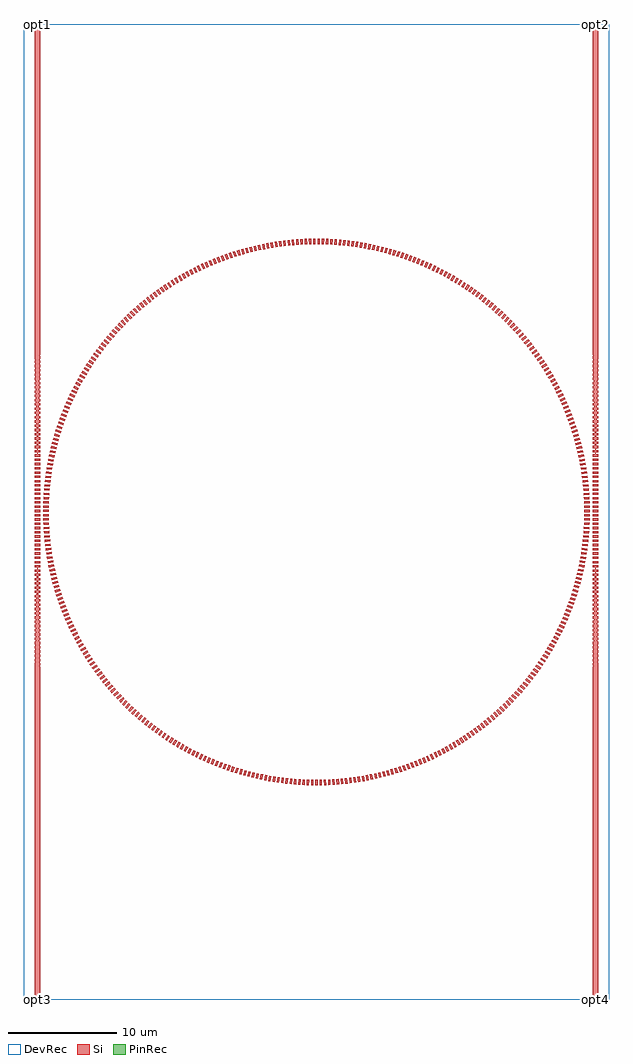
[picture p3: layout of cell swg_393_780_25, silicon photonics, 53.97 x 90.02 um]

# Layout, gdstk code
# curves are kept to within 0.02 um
import gdstk
lib = gdstk.Library(unit=1e-6, precision=1e-09)
def R(c, l, rs):  # rectangles x0, y0, x1, y1
    for r in rs: c.add(gdstk.rectangle(r[:2], r[2:], *l))
def A(c, l, x, y, w, h, nx, ny, dx, dy):  # array of equal rectangles
    R(c, l, [(x+i*dx, y+j*dy, x+i*dx+w, y+j*dy+h) for i in range(nx) for j in range(ny)])
def P(c, l, *ps):  # polygons
    for p in ps: c.add(gdstk.Polygon(p, *l))
Si = (1, 0)
PinRec = (1, 10)
DevRec = (68, 0)

swg_393_780_25 = lib.new_cell('swg_393_780_25')
A(swg_393_780_25, Si, 0, 40.284, 0.5, 0.196, 1, 12, 0, 0.393)
A(swg_393_780_25, Si, 51.472, 40.284, 0.5, 0.196, 1, 12, 0, 0.393)
A(swg_393_780_25, Si, 0, 45, 0.5, 0.197, 1, 13, 0, 0.393)
A(swg_393_780_25, Si, 51.472, 45, 0.5, 0.197, 1, 13, 0, 0.393)
P(swg_393_780_25, Si, [(25.884,19.794),(25.886,20.294),(26.081,20.294),(26.083,19.794)],
  [(36.443,67.385),(36.266,67.466),(36.474,67.921),(36.654,67.838)],
  [(37.142,67.044),(36.968,67.131),(37.191,67.579),(37.368,67.49)],
  [(51.472,50.109),(51.472,50.306),(51.688,50.306),(51.684,50.502),(51.472,50.502),(51.472,50.699),(51.68,50.699),(51.675,50.895),(51.472,50.895),(51.472,51.092),(51.671,51.092),(51.667,51.288),(51.472,51.288),(51.472,51.485),(51.662,51.485),(51.658,51.681),(51.472,51.681),(51.472,51.878),(51.654,51.878),(51.649,52.074),(51.472,52.074),(51.472,52.271),(51.645,52.271),(51.641,52.467),(51.472,52.467),(51.472,52.664),(51.636,52.664),(51.632,52.86),(51.472,52.86),(51.472,53.057),(51.628,53.057),(51.623,53.253),(51.472,53.253),(51.472,53.45),(51.619,53.45),(51.615,53.646),(51.472,53.646),(51.472,53.843),(51.61,53.843),(51.606,54.039),(51.472,54.039),(51.472,54.236),(51.602,54.236),(51.597,54.432),(51.472,54.432),(51.472,54.629),(51.593,54.629),(51.589,54.825),(51.472,54.825),(51.472,55.022),(51.584,55.022),(51.58,55.218),(51.472,55.218),(51.472,55.415),(51.576,55.415),(51.571,55.611),(51.472,55.611),(51.472,55.808),(51.567,55.808),(51.563,56.004),(51.472,56.004),(51.472,56.201),(51.558,56.201),(51.554,56.397),(51.472,56.397),(51.472,56.594),(51.55,56.594),(51.546,56.79),(51.472,56.79),(51.472,56.987),(51.541,56.987),(51.537,57.183),(51.472,57.183),(51.472,57.38),(51.533,57.38),(51.528,57.576),(51.472,57.576),(51.472,57.773),(51.524,57.773),(51.52,57.969),(51.472,57.969),(51.472,58.166),(51.515,58.166),(51.511,58.362),(51.472,58.362),(51.472,58.559),(51.507,58.559),(51.502,58.755),(51.472,58.755),(51.472,58.952),(51.498,58.952),(51.494,59.148),(51.472,59.148),(51.472,90),(51.972,90),(51.972,59.148),(51.95,59.148),(51.946,58.952),(51.972,58.952),(51.972,58.755),(51.942,58.755),(51.937,58.559),(51.972,58.559),(51.972,58.362),(51.933,58.362),(51.929,58.166),(51.972,58.166),(51.972,57.969),(51.924,57.969),(51.92,57.773),(51.972,57.773),(51.972,57.576),(51.916,57.576),(51.911,57.38),(51.972,57.38),(51.972,57.183),(51.907,57.183),(51.903,56.987),(51.972,56.987),(51.972,56.79),(51.898,56.79),(51.894,56.594),(51.972,56.594),(51.972,56.397),(51.89,56.397),(51.886,56.201),(51.972,56.201),(51.972,56.004),(51.881,56.004),(51.877,55.808),(51.972,55.808),(51.972,55.611),(51.873,55.611),(51.868,55.415),(51.972,55.415),(51.972,55.218),(51.864,55.218),(51.86,55.022),(51.972,55.022),(51.972,54.825),(51.855,54.825),(51.851,54.629),(51.972,54.629),(51.972,54.432),(51.847,54.432),(51.842,54.236),(51.972,54.236),(51.972,54.039),(51.838,54.039),(51.834,53.843),(51.972,53.843),(51.972,53.646),(51.829,53.646),(51.825,53.45),(51.972,53.45),(51.972,53.253),(51.821,53.253),(51.816,53.057),(51.972,53.057),(51.972,52.86),(51.812,52.86),(51.808,52.664),(51.972,52.664),(51.972,52.467),(51.803,52.467),(51.799,52.271),(51.972,52.271),(51.972,52.074),(51.795,52.074),(51.79,51.878),(51.972,51.878),(51.972,51.681),(51.786,51.681),(51.782,51.485),(51.972,51.485),(51.972,51.288),(51.777,51.288),(51.773,51.092),(51.972,51.092),(51.972,50.895),(51.769,50.895),(51.764,50.699),(51.972,50.699),(51.972,50.502),(51.76,50.502),(51.756,50.306),(51.972,50.306),(51.972,50.109)],
  [(38.842,66.099),(38.675,66.199),(38.932,66.628),(39.102,66.526)],
  [(36.794,67.217),(36.619,67.302),(36.834,67.753),(37.013,67.667)],
  [(32.052,68.95),(31.863,68.997),(31.982,69.483),(32.175,69.435)],
  [(35.374,67.854),(35.194,67.927),(35.38,68.391),(35.564,68.316)],
  [(35.733,67.703),(35.554,67.779),(35.747,68.24),(35.93,68.162)],
  [(26.279,69.705),(26.084,69.706),(26.086,70.206),(26.285,70.205)],
  [(27.056,69.683),(26.862,69.691),(26.88,70.191),(27.078,70.183)],
  [(30.149,69.353),(29.957,69.385),(30.038,69.879),(30.233,69.846)],
  [(29.765,69.416),(29.573,69.445),(29.645,69.94),(29.842,69.91)],
  [(28.608,69.567),(28.414,69.587),(28.464,70.085),(28.661,70.064)],
  [(36.089,67.547),(35.911,67.625),(36.112,68.083),(36.293,68.003)],
  [(27.445,69.663),(27.251,69.674),(27.276,70.174),(27.474,70.163)],
  [(33.176,68.637),(32.99,68.693),(33.131,69.173),(33.322,69.116)],
  [(30.914,69.21),(30.723,69.248),(30.819,69.739),(31.014,69.7)],
  [(31.295,69.13),(31.104,69.171),(31.208,69.66),(31.402,69.618)],
  [(31.674,69.043),(31.484,69.087),(31.596,69.574),(31.789,69.53)],
  [(28.221,69.605),(28.027,69.622),(28.068,70.12),(28.266,70.103)],
  [(34.65,68.138),(34.467,68.205),(34.639,68.675),(34.825,68.606)],
  [(32.428,68.852),(32.24,68.902),(32.367,69.386),(32.559,69.335)],
  [(32.803,68.748),(32.616,68.8),(32.75,69.282),(32.941,69.228)],
  [(29.38,69.472),(29.187,69.498),(29.252,69.994),(29.449,69.968)],
  [(33.547,68.521),(33.362,68.58),(33.511,69.057),(33.7,68.997)],
  [(26.668,69.697),(26.473,69.702),(26.483,70.202),(26.681,70.197)],
  [(33.917,68.399),(33.732,68.461),(33.889,68.936),(34.077,68.873)],
  [(34.284,68.271),(34.101,68.336),(34.265,68.808),(34.452,68.742)],
  [(35.013,67.999),(34.832,68.069),(35.011,68.536),(35.196,68.464)],
  [(30.532,69.285),(30.341,69.32),(30.429,69.812),(30.624,69.776)],
  [(27.833,69.637),(27.639,69.651),(27.673,70.15),(27.87,70.136)],
  [(28.994,69.523),(28.801,69.546),(28.858,70.042),(29.055,70.019)],
  [(37.488,66.866),(37.316,66.956),(37.545,67.4),(37.721,67.308)],
  [(38.508,66.298),(38.34,66.396),(38.59,66.829),(38.761,66.729)],
  [(37.831,66.682),(37.66,66.775),(37.896,67.215),(38.071,67.121)],
  [(38.171,66.493),(38.001,66.588),(38.244,67.025),(38.418,66.928)],
  [(50.665,46.167),(50.655,46.361),(51.154,46.389),(51.164,46.19)],
  [(50.007,50.782),(49.96,50.971),(50.445,51.091),(50.493,50.899)],
  [(44.745,61.079),(44.618,61.226),(44.995,61.554),(45.124,61.404)],
  [(50.177,50.022),(50.136,50.213),(50.625,50.318),(50.666,50.124)],
  [(50.387,48.874),(50.356,49.066),(50.849,49.149),(50.881,48.953)],
  [(43.144,62.777),(43.004,62.911),(43.348,63.274),(43.492,63.136)],
  [(46.178,59.237),(46.065,59.396),(46.472,59.687),(46.587,59.525)],
  [(46.4,58.917),(46.29,59.078),(46.7,59.363),(46.813,59.199)],
  [(44.489,61.372),(44.36,61.517),(44.732,61.851),(44.864,61.703)],
  [(48.949,54.117),(48.877,54.297),(49.34,54.485),(49.414,54.301)],
  [(46.828,58.268),(46.723,58.431),(47.142,58.703),(47.25,58.536)],
  [(49.477,52.653),(49.416,52.838),(49.891,52.996),(49.953,52.808)],
  [(47.034,57.938),(46.932,58.103),(47.356,58.368),(47.46,58.2)],
  [(50.69,45.389),(50.686,45.584),(51.186,45.595),(51.189,45.397)],
  [(50.323,49.258),(50.289,49.45),(50.78,49.54),(50.815,49.344)],
  [(50.616,46.943),(50.6,47.137),(51.098,47.18),(51.115,46.983)],
  [(50.582,47.331),(50.563,47.524),(51.061,47.576),(51.08,47.378)],
  [(39.5,65.683),(39.336,65.789),(39.607,66.21),(39.773,66.102)],
  [(43.422,62.504),(43.284,62.641),(43.634,62.998),(43.775,62.859)],
  [(39.824,65.468),(39.662,65.576),(39.939,65.993),(40.104,65.882)],
  [(40.461,65.022),(40.303,65.135),(40.593,65.543),(40.754,65.427)],
  [(49.813,51.535),(49.76,51.723),(50.242,51.859),(50.295,51.667)],
  [(48.493,55.191),(48.412,55.368),(48.866,55.578),(48.948,55.397)],
  [(43.696,62.228),(43.559,62.366),(43.915,62.718),(44.054,62.576)],
  [(50.253,49.641),(50.216,49.832),(50.706,49.93),(50.744,49.735)],
  [(41.991,63.821),(41.843,63.947),(42.163,64.33),(42.315,64.202)],
  [(50.095,50.403),(50.051,50.592),(50.538,50.706),(50.583,50.512)],
  [(44.229,61.661),(44.097,61.804),(44.464,62.145),(44.598,61.999)],
  [(44.996,60.781),(44.871,60.93),(45.253,61.253),(45.38,61.101)],
  [(39.172,65.893),(39.007,65.997),(39.271,66.422),(39.439,66.316)],
  [(50.445,48.49),(50.417,48.682),(50.911,48.757),(50.94,48.56)],
  [(47.431,57.269),(47.334,57.437),(47.766,57.689),(47.865,57.517)],
  [(49.913,51.159),(49.863,51.347),(50.347,51.476),(50.397,51.284)],
  [(40.144,65.247),(39.984,65.358),(40.268,65.77),(40.431,65.657)],
  [(46.616,58.594),(46.509,58.756),(46.924,59.035),(47.034,58.869)],
  [(41.391,64.316),(41.238,64.437),(41.547,64.83),(41.702,64.707)],
  [(40.775,64.792),(40.619,64.907),(40.915,65.31),(41.074,65.192)],
  [(48.161,55.895),(48.074,56.069),(48.521,56.293),(48.61,56.115)],
  [(50.543,47.718),(50.521,47.911),(51.017,47.97),(51.04,47.773)],
  [(50.68,45.778),(50.673,45.972),(51.173,45.992),(51.18,45.794)],
  [(45.951,59.553),(45.836,59.71),(46.238,60.008),(46.355,59.848)],
  [(48.651,54.835),(48.572,55.013),(49.03,55.216),(49.109,55.034)],
  [(47.235,57.605),(47.135,57.772),(47.563,58.03),(47.665,57.86)],
  [(49.09,53.754),(49.02,53.936),(49.486,54.116),(49.557,53.931)],
  [(50.497,48.104),(50.472,48.297),(50.967,48.364),(50.993,48.167)],
  [(50.644,46.555),(50.631,46.749),(51.129,46.785),(51.143,46.587)],
  [(42.862,63.045),(42.72,63.177),(43.058,63.545),(43.204,63.41)],
  [(49.225,53.389),(49.158,53.572),(49.627,53.745),(49.695,53.559)],
  [(41.693,64.071),(41.542,64.194),(41.857,64.583),(42.011,64.457)],
  [(49.707,51.91),(49.652,52.096),(50.131,52.24),(50.187,52.049)],
  [(48.33,55.544),(48.246,55.72),(48.696,55.937),(48.782,55.757)],
  [(49.354,53.022),(49.29,53.206),(49.762,53.372),(49.827,53.184)],
  [(42.286,63.567),(42.139,63.695),(42.466,64.073),(42.616,63.943)],
  [(42.576,63.308),(42.431,63.438),(42.764,63.811),(42.912,63.679)],
  [(41.085,64.556),(40.93,64.675),(41.233,65.073),(41.39,64.952)],
  [(49.595,52.282),(49.537,52.468),(50.014,52.619),(50.073,52.43)],
  [(48.803,54.477),(48.727,54.656),(49.188,54.852),(49.264,54.669)],
  [(50.693,45),(50.692,45.195),(51.192,45.198),(51.193,45)],
  [(47.622,56.93),(47.527,57.1),(47.963,57.344),(48.06,57.171)],
  [(43.965,61.947),(43.831,62.088),(44.192,62.433),(44.328,62.29)],
  [(45.483,60.175),(45.363,60.328),(45.755,60.638),(45.878,60.482)],
  [(47.987,56.242),(47.897,56.415),(48.341,56.646),(48.432,56.47)],
  [(45.242,60.48),(45.119,60.631),(45.507,60.947),(45.632,60.793)],
  [(45.72,59.866),(45.602,60.021),(45.999,60.325),(46.119,60.167)],
  [(47.807,56.587),(47.715,56.759),(48.155,56.997),(48.248,56.822)],
  [(0,50.109),(0,50.306),(0.216,50.306),(0.212,50.502),(0,50.502),(0,50.699),(0.208,50.699),(0.203,50.895),(0,50.895),(0,51.092),(0.199,51.092),(0.195,51.288),(0,51.288),(0,51.485),(0.19,51.485),(0.186,51.681),(0,51.681),(0,51.878),(0.182,51.878),(0.177,52.074),(0,52.074),(0,52.271),(0.173,52.271),(0.169,52.467),(0,52.467),(0,52.664),(0.164,52.664),(0.16,52.86),(0,52.86),(0,53.057),(0.156,53.057),(0.151,53.253),(0,53.253),(0,53.45),(0.147,53.45),(0.143,53.646),(0,53.646),(0,53.843),(0.138,53.843),(0.134,54.039),(0,54.039),(0,54.236),(0.13,54.236),(0.125,54.432),(0,54.432),(0,54.629),(0.121,54.629),(0.117,54.825),(0,54.825),(0,55.022),(0.112,55.022),(0.108,55.218),(0,55.218),(0,55.415),(0.104,55.415),(0.099,55.611),(0,55.611),(0,55.808),(0.095,55.808),(0.091,56.004),(0,56.004),(0,56.201),(0.086,56.201),(0.082,56.397),(0,56.397),(0,56.594),(0.078,56.594),(0.074,56.79),(0,56.79),(0,56.987),(0.069,56.987),(0.065,57.183),(0,57.183),(0,57.38),(0.061,57.38),(0.056,57.576),(0,57.576),(0,57.773),(0.052,57.773),(0.048,57.969),(0,57.969),(0,58.166),(0.043,58.166),(0.039,58.362),(0,58.362),(0,58.559),(0.035,58.559),(0.03,58.755),(0,58.755),(0,58.952),(0.026,58.952),(0.022,59.148),(0,59.148),(0,90),(0.5,90),(0.5,59.148),(0.478,59.148),(0.474,58.952),(0.5,58.952),(0.5,58.755),(0.47,58.755),(0.465,58.559),(0.5,58.559),(0.5,58.362),(0.461,58.362),(0.457,58.166),(0.5,58.166),(0.5,57.969),(0.452,57.969),(0.448,57.773),(0.5,57.773),(0.5,57.576),(0.444,57.576),(0.439,57.38),(0.5,57.38),(0.5,57.183),(0.435,57.183),(0.431,56.987),(0.5,56.987),(0.5,56.79),(0.426,56.79),(0.422,56.594),(0.5,56.594),(0.5,56.397),(0.418,56.397),(0.414,56.201),(0.5,56.201),(0.5,56.004),(0.409,56.004),(0.405,55.808),(0.5,55.808),(0.5,55.611),(0.401,55.611),(0.396,55.415),(0.5,55.415),(0.5,55.218),(0.392,55.218),(0.388,55.022),(0.5,55.022),(0.5,54.825),(0.383,54.825),(0.379,54.629),(0.5,54.629),(0.5,54.432),(0.375,54.432),(0.37,54.236),(0.5,54.236),(0.5,54.039),(0.366,54.039),(0.362,53.843),(0.5,53.843),(0.5,53.646),(0.357,53.646),(0.353,53.45),(0.5,53.45),(0.5,53.253),(0.349,53.253),(0.344,53.057),(0.5,53.057),(0.5,52.86),(0.34,52.86),(0.336,52.664),(0.5,52.664),(0.5,52.467),(0.331,52.467),(0.327,52.271),(0.5,52.271),(0.5,52.074),(0.323,52.074),(0.318,51.878),(0.5,51.878),(0.5,51.681),(0.314,51.681),(0.31,51.485),(0.5,51.485),(0.5,51.288),(0.305,51.288),(0.301,51.092),(0.5,51.092),(0.5,50.895),(0.297,50.895),(0.292,50.699),(0.5,50.699),(0.5,50.502),(0.288,50.502),(0.284,50.306),(0.5,50.306),(0.5,50.109)],
  [(15.18,67.218),(14.961,67.668),(15.14,67.754),(15.355,67.302)],
  [(13.132,66.099),(12.872,66.526),(13.041,66.629),(13.298,66.2)],
  [(15.531,67.385),(15.319,67.838),(15.499,67.922),(15.707,67.467)],
  [(14.831,67.045),(14.605,67.491),(14.783,67.58),(15.005,67.132)],
  [(17.324,68.138),(17.149,68.607),(17.335,68.675),(17.506,68.206)],
  [(20.679,69.13),(20.572,69.618),(20.766,69.66),(20.869,69.171)],
  [(20.3,69.043),(20.185,69.53),(20.378,69.575),(20.489,69.087)],
  [(18.057,68.4),(17.896,68.873),(18.084,68.936),(18.241,68.461)],
  [(23.753,69.605),(23.708,70.103),(23.905,70.121),(23.947,69.622)],
  [(21.824,69.354),(21.74,69.846),(21.936,69.879),(22.016,69.386)],
  [(23.366,69.567),(23.313,70.064),(23.51,70.085),(23.559,69.587)],
  [(25.695,69.705),(25.689,70.205),(25.888,70.206),(25.89,69.706)],
  [(22.979,69.523),(22.918,70.019),(23.115,70.043),(23.172,69.546)],
  [(17.689,68.272),(17.521,68.743),(17.709,68.809),(17.873,68.336)],
  [(24.917,69.683),(24.896,70.183),(25.094,70.191),(25.112,69.691)],
  [(22.593,69.473),(22.525,69.968),(22.721,69.994),(22.786,69.499)],
  [(21.06,69.21),(20.96,69.7),(21.155,69.739),(21.25,69.249)],
  [(25.306,69.697),(25.292,70.197),(25.491,70.202),(25.501,69.702)],
  [(16.6,67.854),(16.41,68.317),(16.593,68.391),(16.78,67.927)],
  [(24.141,69.638),(24.103,70.136),(24.301,70.15),(24.335,69.651)],
  [(19.922,68.951),(19.799,69.436),(19.992,69.483),(20.111,68.998)],
  [(18.426,68.522),(18.273,68.998),(18.462,69.058),(18.612,68.58)],
  [(24.529,69.664),(24.499,70.163),(24.697,70.174),(24.723,69.674)],
  [(22.208,69.416),(22.132,69.91),(22.328,69.94),(22.401,69.445)],
  [(16.241,67.703),(16.044,68.163),(16.226,68.241),(16.42,67.78)],
  [(15.885,67.547),(15.68,68.004),(15.862,68.084),(16.062,67.626)],
  [(21.441,69.285),(21.349,69.777),(21.545,69.812),(21.633,69.32)],
  [(18.798,68.638),(18.652,69.116),(18.842,69.173),(18.984,68.694)],
  [(19.171,68.748),(19.033,69.229),(19.224,69.283),(19.358,68.801)],
  [(19.545,68.852),(19.415,69.335),(19.607,69.386),(19.733,68.902)],
  [(16.961,67.999),(16.778,68.465),(16.963,68.536),(17.142,68.069)],
  [(1.719,49.643),(1.228,49.736),(1.266,49.931),(1.757,49.833)],
  [(3.17,54.479),(2.708,54.67),(2.785,54.853),(3.245,54.658)],
  [(1.282,45.391),(0.783,45.399),(0.786,45.597),(1.286,45.585)],
  [(10.889,64.557),(10.583,64.953),(10.741,65.074),(11.043,64.676)],
  [(11.198,64.793),(10.899,65.193),(11.059,65.311),(11.355,64.908)],
  [(2.377,52.284),(1.9,52.431),(1.959,52.621),(2.436,52.469)],
  [(10.583,64.317),(10.271,64.708),(10.427,64.831),(10.735,64.438)],
  [(3.812,55.896),(3.363,56.116),(3.451,56.294),(3.898,56.07)],
  [(10.28,64.072),(9.962,64.458),(10.116,64.584),(10.431,64.195)],
  [(4.542,57.27),(4.108,57.518),(4.207,57.69),(4.639,57.439)],
  [(6.977,60.782),(6.593,61.102),(6.72,61.254),(7.102,60.932)],
  [(3.48,55.192),(3.024,55.399),(3.107,55.579),(3.561,55.369)],
  [(12.801,65.894),(12.534,66.317),(12.702,66.422),(12.966,65.998)],
  [(2.16,51.537),(1.678,51.669),(1.731,51.86),(2.212,51.724)],
  [(1.356,46.945),(0.858,46.984),(0.874,47.182),(1.372,47.139)],
  [(2.883,53.755),(2.415,53.933),(2.486,54.118),(2.952,53.937)],
  [(9.982,63.823),(9.658,64.203),(9.81,64.331),(10.131,63.948)],
  [(1.796,50.024),(1.306,50.126),(1.347,50.32),(1.836,50.214)],
  [(9.111,63.046),(8.769,63.411),(8.915,63.546),(9.254,63.178)],
  [(8.551,62.505),(8.198,62.86),(8.339,62.999),(8.689,62.642)],
  [(2.748,53.391),(2.277,53.56),(2.346,53.747),(2.815,53.573)],
  [(2.266,51.911),(1.786,52.051),(1.842,52.241),(2.321,52.098)],
  [(1.43,47.719),(0.933,47.775),(0.955,47.972),(1.452,47.913)],
  [(1.649,49.26),(1.157,49.346),(1.192,49.541),(1.684,49.451)],
  [(6.49,60.176),(6.095,60.483),(6.218,60.639),(6.61,60.329)],
  [(8.008,61.948),(7.645,62.291),(7.781,62.435),(8.142,62.089)],
  [(8.278,62.229),(7.919,62.577),(8.058,62.719),(8.414,62.368)],
  [(6.022,59.555),(5.618,59.849),(5.735,60.009),(6.137,59.711)],
  [(3.986,56.244),(3.541,56.471),(3.632,56.648),(4.075,56.417)],
  [(11.512,65.023),(11.219,65.428),(11.38,65.544),(11.67,65.136)],
  [(2.06,51.161),(1.576,51.285),(1.626,51.477),(2.109,51.349)],
  [(1.307,46.168),(0.808,46.192),(0.818,46.39),(1.317,46.363)],
  [(12.474,65.684),(12.2,66.103),(12.367,66.211),(12.637,65.79)],
  [(5.145,58.269),(4.723,58.538),(4.83,58.705),(5.25,58.433)],
  [(7.484,61.373),(7.109,61.705),(7.241,61.853),(7.613,61.518)],
  [(5.357,58.596),(4.939,58.871),(5.049,59.036),(5.464,58.758)],
  [(5.573,58.919),(5.16,59.2),(5.273,59.364),(5.683,59.079)],
  [(9.397,63.309),(9.061,63.68),(9.209,63.812),(9.542,63.439)],
  [(6.731,60.481),(6.342,60.795),(6.466,60.949),(6.854,60.632)],
  [(7.228,61.08),(6.849,61.405),(6.978,61.555),(7.355,61.227)],
  [(1.585,48.876),(1.092,48.955),(1.123,49.15),(1.617,49.068)],
  [(1.328,46.557),(0.829,46.588),(0.843,46.786),(1.342,46.751)],
  [(0.779,45.002),(0.78,45.2),(1.28,45.196),(1.279,45.002)],
  [(4.351,56.931),(3.913,57.172),(4.01,57.346),(4.446,57.101)],
  [(6.253,59.867),(5.854,60.168),(5.974,60.326),(6.371,60.022)],
  [(5.795,59.239),(5.386,59.527),(5.501,59.688),(5.908,59.397)],
  [(8.829,62.778),(8.482,63.138),(8.625,63.275),(8.969,62.912)],
  [(1.292,45.78),(0.792,45.795),(0.799,45.994),(1.299,45.974)],
  [(3.643,55.545),(3.191,55.759),(3.276,55.938),(3.727,55.721)],
  [(1.39,47.332),(0.892,47.38),(0.911,47.577),(1.409,47.526)],
  [(4.939,57.939),(4.513,58.201),(4.617,58.37),(5.041,58.105)],
  [(3.024,54.118),(2.559,54.303),(2.633,54.487),(3.096,54.299)],
  [(4.166,56.589),(3.724,56.823),(3.818,56.998),(4.258,56.76)],
  [(2.619,53.024),(2.146,53.186),(2.211,53.373),(2.682,53.207)],
  [(11.829,65.248),(11.543,65.658),(11.706,65.771),(11.989,65.359)],
  [(3.322,54.837),(2.863,55.036),(2.943,55.217),(3.4,55.015)],
  [(4.738,57.606),(4.307,57.861),(4.409,58.032),(4.837,57.773)],
  [(7.744,61.663),(7.375,62),(7.509,62.146),(7.876,61.806)],
  [(2.495,52.655),(2.02,52.81),(2.082,52.998),(2.556,52.839)],
  [(1.966,50.783),(1.48,50.9),(1.527,51.093),(2.012,50.972)],
  [(9.688,63.568),(9.358,63.944),(9.507,64.074),(9.834,63.696)],
  [(1.878,50.404),(1.39,50.514),(1.434,50.707),(1.921,50.594)],
  [(1.475,48.106),(0.979,48.169),(1.005,48.365),(1.501,48.299)],
  [(1.527,48.491),(1.032,48.562),(1.061,48.758),(1.556,48.684)],
  [(12.15,65.469),(11.87,65.883),(12.035,65.994),(12.311,65.577)],
  [(14.142,66.683),(13.903,67.122),(14.077,67.216),(14.314,66.775)],
  [(13.466,66.299),(13.212,66.73),(13.384,66.83),(13.634,66.397)],
  [(14.485,66.867),(14.253,67.309),(14.429,67.401),(14.658,66.957)],
  [(13.802,66.494),(13.556,66.929),(13.729,67.026),(13.972,66.589)],
  [(12.869,23.475),(12.7,23.579),(12.963,24.004),(13.129,23.902)],
  [(0,0),(0,31.048),(0.022,31.048),(0.026,31.245),(0,31.245),(0,31.441),(0.03,31.441),(0.035,31.638),(0,31.638),(0,31.834),(0.039,31.834),(0.043,32.031),(0,32.031),(0,32.227),(0.048,32.227),(0.052,32.424),(0,32.424),(0,32.62),(0.056,32.62),(0.061,32.817),(0,32.817),(0,33.013),(0.065,33.013),(0.069,33.21),(0,33.21),(0,33.406),(0.073,33.406),(0.078,33.603),(0,33.603),(0,33.799),(0.082,33.799),(0.086,33.996),(0,33.996),(0,34.192),(0.091,34.192),(0.095,34.389),(0,34.389),(0,34.585),(0.099,34.585),(0.104,34.782),(0,34.782),(0,34.978),(0.108,34.978),(0.112,35.175),(0,35.175),(0,35.371),(0.117,35.371),(0.121,35.568),(0,35.568),(0,35.764),(0.125,35.764),(0.13,35.961),(0,35.961),(0,36.157),(0.134,36.157),(0.138,36.354),(0,36.354),(0,36.55),(0.143,36.55),(0.147,36.747),(0,36.747),(0,36.943),(0.151,36.943),(0.156,37.14),(0,37.14),(0,37.336),(0.16,37.336),(0.164,37.533),(0,37.533),(0,37.729),(0.169,37.729),(0.173,37.926),(0,37.926),(0,38.123),(0.177,38.123),(0.182,38.319),(0,38.319),(0,38.515),(0.186,38.515),(0.19,38.712),(0,38.712),(0,38.908),(0.195,38.908),(0.199,39.105),(0,39.105),(0,39.301),(0.203,39.301),(0.208,39.498),(0,39.498),(0,39.694),(0.212,39.694),(0.216,39.891),(0,39.891),(0,40.087),(0.5,40.087),(0.5,39.891),(0.284,39.891),(0.288,39.694),(0.5,39.694),(0.5,39.498),(0.292,39.498),(0.297,39.301),(0.5,39.301),(0.5,39.105),(0.301,39.105),(0.305,38.908),(0.5,38.908),(0.5,38.712),(0.31,38.712),(0.314,38.515),(0.5,38.515),(0.5,38.319),(0.318,38.319),(0.323,38.123),(0.5,38.123),(0.5,37.926),(0.327,37.926),(0.331,37.729),(0.5,37.729),(0.5,37.533),(0.336,37.533),(0.34,37.336),(0.5,37.336),(0.5,37.14),(0.344,37.14),(0.349,36.943),(0.5,36.943),(0.5,36.747),(0.353,36.747),(0.357,36.55),(0.5,36.55),(0.5,36.354),(0.362,36.354),(0.366,36.157),(0.5,36.157),(0.5,35.961),(0.37,35.961),(0.375,35.764),(0.5,35.764),(0.5,35.568),(0.379,35.568),(0.383,35.371),(0.5,35.371),(0.5,35.175),(0.388,35.175),(0.392,34.978),(0.5,34.978),(0.5,34.782),(0.396,34.782),(0.401,34.585),(0.5,34.585),(0.5,34.389),(0.405,34.389),(0.409,34.192),(0.5,34.192),(0.5,33.996),(0.414,33.996),(0.418,33.799),(0.5,33.799),(0.5,33.603),(0.422,33.603),(0.427,33.406),(0.5,33.406),(0.5,33.21),(0.431,33.21),(0.435,33.013),(0.5,33.013),(0.5,32.817),(0.439,32.817),(0.444,32.62),(0.5,32.62),(0.5,32.424),(0.448,32.424),(0.452,32.227),(0.5,32.227),(0.5,32.031),(0.457,32.031),(0.461,31.834),(0.5,31.834),(0.5,31.638),(0.465,31.638),(0.47,31.441),(0.5,31.441),(0.5,31.245),(0.474,31.245),(0.478,31.048),(0.5,31.048),(0.5,0)],
  [(15.316,22.163),(15.137,22.248),(15.352,22.699),(15.528,22.616)],
  [(15.677,21.998),(15.496,22.08),(15.704,22.534),(15.882,22.454)],
  [(14.958,22.334),(14.78,22.421),(15.002,22.869),(15.177,22.783)],
  [(13.209,23.271),(13.039,23.373),(13.295,23.802),(13.463,23.702)],
  [(14.602,22.51),(14.426,22.601),(14.655,23.045),(14.828,22.956)],
  [(14.25,22.692),(14.074,22.785),(14.311,23.226),(14.482,23.135)],
  [(13.553,23.073),(13.381,23.172),(13.631,23.605),(13.8,23.508)],
  [(13.9,22.88),(13.726,22.976),(13.969,23.413),(14.14,23.319)],
  [(11.216,24.574),(11.056,24.691),(11.352,25.094),(11.509,24.979)],
  [(2.019,37.194),(1.958,37.383),(2.435,37.534),(2.494,37.348)],
  [(11.867,24.119),(11.703,24.231),(11.986,24.643),(12.147,24.533)],
  [(10.897,24.809),(10.738,24.928),(11.041,25.326),(11.196,25.209)],
  [(7.107,28.298),(6.976,28.447),(7.353,28.775),(7.482,28.629)],
  [(7.917,27.425),(7.779,27.568),(8.14,27.914),(8.275,27.774)],
  [(0.807,43.811),(0.799,44.01),(1.298,44.029),(1.307,43.835)],
  [(8.767,26.591),(8.623,26.727),(8.967,27.09),(9.109,26.956)],
  [(7.642,27.712),(7.507,27.857),(7.873,28.197),(8.006,28.055)],
  [(7.372,28.003),(7.239,28.15),(7.611,28.484),(7.742,28.34)],
  [(8.479,26.865),(8.337,27.003),(8.687,27.36),(8.827,27.224)],
  [(0.979,41.835),(0.955,42.032),(1.451,42.09),(1.475,41.897)],
  [(0.857,43.019),(0.843,43.217),(1.341,43.252),(1.356,43.058)],
  [(2.414,36.07),(2.344,36.256),(2.813,36.43),(2.882,36.248)],
  [(3.362,33.886),(3.275,34.065),(3.725,34.282),(3.81,34.107)],
  [(3.023,34.604),(2.942,34.786),(3.399,34.988),(3.478,34.811)],
  [(5.158,30.802),(5.047,30.967),(5.462,31.245),(5.571,31.084)],
  [(11.54,24.344),(11.378,24.458),(11.667,24.866),(11.826,24.753)],
  [(1.575,38.718),(1.526,38.91),(2.011,39.031),(2.059,38.842)],
  [(1.479,39.103),(1.433,39.296),(1.92,39.409),(1.965,39.22)],
  [(4.937,31.132),(4.829,31.298),(5.248,31.57),(5.355,31.407)],
  [(6.093,29.519),(5.972,29.676),(6.369,29.98),(6.488,29.826)],
  [(9.355,26.058),(9.207,26.19),(9.539,26.563),(9.685,26.434)],
  [(9.656,25.799),(9.505,25.928),(9.832,26.306),(9.979,26.18)],
  [(5.384,30.476),(5.271,30.639),(5.682,30.924),(5.793,30.764)],
  [(4.511,31.802),(4.408,31.971),(4.836,32.23),(4.937,32.063)],
  [(1.389,39.49),(1.346,39.683),(1.835,39.789),(1.877,39.599)],
  [(0.782,44.605),(0.78,44.803),(1.28,44.807),(1.282,44.613)],
  [(0.792,44.208),(0.786,44.406),(1.286,44.418),(1.292,44.224)],
  [(0.829,43.415),(0.818,43.613),(1.317,43.641),(1.328,43.446)],
  [(6.339,29.208),(6.216,29.363),(6.608,29.673),(6.729,29.521)],
  [(3.912,32.83),(3.817,33.005),(4.256,33.243),(4.35,33.072)],
  [(6.846,28.597),(6.718,28.748),(7.1,29.071),(7.226,28.923)],
  [(1.305,39.877),(1.266,40.072),(1.756,40.17),(1.795,39.979)],
  [(9.059,26.322),(8.913,26.456),(9.251,26.824),(9.395,26.693)],
  [(2.145,36.817),(2.081,37.005),(2.555,37.164),(2.617,36.979)],
  [(10.581,25.049),(10.424,25.171),(10.733,25.564),(10.886,25.445)],
  [(1.091,41.049),(1.061,41.245),(1.555,41.319),(1.585,41.127)],
  [(3.723,33.18),(3.63,33.355),(4.074,33.586),(4.164,33.414)],
  [(3.539,33.532),(3.45,33.709),(3.897,33.933),(3.985,33.759)],
  [(0.892,42.624),(0.874,42.821),(1.372,42.864),(1.389,42.671)],
  [(1.156,40.657),(1.123,40.853),(1.616,40.935),(1.649,40.743)],
  [(2.558,35.7),(2.485,35.885),(2.951,36.066),(3.022,35.885)],
  [(1.677,38.334),(1.625,38.526),(2.108,38.654),(2.159,38.466)],
  [(5.616,30.153),(5.499,30.314),(5.906,30.606),(6.02,30.448)],
  [(12.197,23.899),(12.032,24.008),(12.309,24.425),(12.471,24.318)],
  [(2.276,36.443),(2.21,36.63),(2.681,36.796),(2.747,36.612)],
  [(12.531,23.685),(12.364,23.791),(12.634,24.212),(12.798,24.107)],
  [(10.268,25.294),(10.114,25.418),(10.428,25.807),(10.58,25.685)],
  [(1.899,37.572),(1.841,37.762),(2.32,37.905),(2.377,37.719)],
  [(4.306,32.141),(4.205,32.313),(4.637,32.564),(4.736,32.396)],
  [(6.591,28.901),(6.464,29.054),(6.852,29.37),(6.975,29.22)],
  [(1.032,41.441),(1.005,41.638),(1.5,41.704),(1.527,41.512)],
  [(0.932,42.229),(0.911,42.426),(1.409,42.477),(1.429,42.284)],
  [(8.196,27.143),(8.056,27.283),(8.412,27.635),(8.549,27.497)],
  [(3.189,34.244),(3.105,34.424),(3.559,34.634),(3.642,34.457)],
  [(5.852,29.835),(5.733,29.993),(6.135,30.291),(6.251,30.135)],
  [(4.721,31.465),(4.616,31.633),(5.039,31.898),(5.143,31.734)],
  [(2.862,34.967),(2.784,35.15),(3.244,35.345),(3.321,35.166)],
  [(9.96,25.544),(9.807,25.671),(10.128,26.054),(10.278,25.93)],
  [(2.707,35.333),(2.632,35.516),(3.095,35.704),(3.169,35.524)],
  [(1.228,40.267),(1.191,40.462),(1.683,40.552),(1.719,40.361)],
  [(1.785,37.952),(1.73,38.143),(2.211,38.279),(2.265,38.092)],
  [(4.106,32.484),(4.008,32.657),(4.444,32.902),(4.54,32.733)],
  [(16.041,21.838),(15.859,21.917),(16.059,22.375),(16.238,22.298)],
  [(16.775,21.537),(16.59,21.61),(16.777,22.074),(16.958,22.002)],
  [(16.407,21.685),(16.223,21.761),(16.417,22.222),(16.597,22.147)],
  [(24.892,19.817),(24.694,19.827),(24.72,20.326),(24.914,20.317)],
  [(17.893,21.128),(17.705,21.192),(17.87,21.665),(18.054,21.601)],
  [(21.737,20.154),(21.541,20.188),(21.63,20.68),(21.821,20.647)],
  [(20.957,20.3),(20.762,20.341),(20.866,20.83),(21.056,20.79)],
  [(22.521,20.033),(22.325,20.061),(22.398,20.555),(22.59,20.528)],
  [(18.27,21.003),(18.081,21.065),(18.238,21.54),(18.423,21.479)],
  [(19.796,20.565),(19.604,20.615),(19.73,21.098),(19.919,21.05)],
  [(18.649,20.885),(18.459,20.943),(18.609,21.421),(18.794,21.363)],
  [(23.309,19.936),(23.112,19.958),(23.169,20.455),(23.362,20.433)],
  [(24.1,19.864),(23.902,19.88),(23.943,20.378),(24.137,20.363)],
  [(17.145,21.395),(16.96,21.465),(17.139,21.932),(17.321,21.863)],
  [(20.568,20.382),(20.375,20.426),(20.486,20.913),(20.676,20.871)],
  [(25.289,19.803),(25.091,19.809),(25.108,20.309),(25.303,20.303)],
  [(19.412,20.666),(19.221,20.718),(19.355,21.2),(19.542,21.148)],
  [(22.129,20.09),(21.933,20.121),(22.013,20.615),(22.205,20.584)],
  [(19.03,20.772),(18.839,20.828),(18.981,21.307),(19.168,21.253)],
  [(21.346,20.224),(21.151,20.261),(21.247,20.752),(21.438,20.716)],
  [(22.915,19.981),(22.718,20.006),(22.783,20.502),(22.976,20.477)],
  [(20.181,20.471),(19.988,20.517),(20.107,21.003),(20.297,20.957)],
  [(24.496,19.837),(24.298,19.85),(24.331,20.349),(24.525,20.337)],
  [(25.686,19.795),(25.487,19.798),(25.497,20.298),(25.692,20.295)],
  [(23.704,19.897),(23.507,19.916),(23.556,20.413),(23.75,20.395)],
  [(17.518,21.258),(17.332,21.326),(17.503,21.795),(17.686,21.729)],
  [(37.01,22.332),(36.791,22.781),(36.966,22.867),(37.188,22.419)],
  [(51.472,0),(51.472,31.048),(51.494,31.048),(51.498,31.245),(51.472,31.245),(51.472,31.441),(51.502,31.441),(51.507,31.638),(51.472,31.638),(51.472,31.834),(51.511,31.834),(51.515,32.031),(51.472,32.031),(51.472,32.227),(51.52,32.227),(51.524,32.424),(51.472,32.424),(51.472,32.62),(51.528,32.62),(51.533,32.817),(51.472,32.817),(51.472,33.013),(51.537,33.013),(51.541,33.21),(51.472,33.21),(51.472,33.406),(51.545,33.406),(51.55,33.603),(51.472,33.603),(51.472,33.799),(51.554,33.799),(51.558,33.996),(51.472,33.996),(51.472,34.192),(51.563,34.192),(51.567,34.389),(51.472,34.389),(51.472,34.585),(51.571,34.585),(51.576,34.782),(51.472,34.782),(51.472,34.978),(51.58,34.978),(51.584,35.175),(51.472,35.175),(51.472,35.371),(51.589,35.371),(51.593,35.568),(51.472,35.568),(51.472,35.764),(51.597,35.764),(51.602,35.961),(51.472,35.961),(51.472,36.157),(51.606,36.157),(51.61,36.354),(51.472,36.354),(51.472,36.55),(51.615,36.55),(51.619,36.747),(51.472,36.747),(51.472,36.943),(51.623,36.943),(51.628,37.14),(51.472,37.14),(51.472,37.336),(51.632,37.336),(51.636,37.533),(51.472,37.533),(51.472,37.729),(51.641,37.729),(51.645,37.926),(51.472,37.926),(51.472,38.123),(51.649,38.123),(51.654,38.319),(51.472,38.319),(51.472,38.515),(51.658,38.515),(51.662,38.712),(51.472,38.712),(51.472,38.908),(51.667,38.908),(51.671,39.105),(51.472,39.105),(51.472,39.301),(51.675,39.301),(51.68,39.498),(51.472,39.498),(51.472,39.694),(51.684,39.694),(51.688,39.891),(51.472,39.891),(51.472,40.087),(51.972,40.087),(51.972,39.891),(51.756,39.891),(51.76,39.694),(51.972,39.694),(51.972,39.498),(51.764,39.498),(51.769,39.301),(51.972,39.301),(51.972,39.105),(51.773,39.105),(51.777,38.908),(51.972,38.908),(51.972,38.712),(51.782,38.712),(51.786,38.515),(51.972,38.515),(51.972,38.319),(51.79,38.319),(51.795,38.123),(51.972,38.123),(51.972,37.926),(51.799,37.926),(51.803,37.729),(51.972,37.729),(51.972,37.533),(51.808,37.533),(51.812,37.336),(51.972,37.336),(51.972,37.14),(51.816,37.14),(51.821,36.943),(51.972,36.943),(51.972,36.747),(51.825,36.747),(51.829,36.55),(51.972,36.55),(51.972,36.354),(51.834,36.354),(51.838,36.157),(51.972,36.157),(51.972,35.961),(51.842,35.961),(51.847,35.764),(51.972,35.764),(51.972,35.568),(51.851,35.568),(51.855,35.371),(51.972,35.371),(51.972,35.175),(51.86,35.175),(51.864,34.978),(51.972,34.978),(51.972,34.782),(51.868,34.782),(51.873,34.585),(51.972,34.585),(51.972,34.389),(51.877,34.389),(51.881,34.192),(51.972,34.192),(51.972,33.996),(51.886,33.996),(51.89,33.799),(51.972,33.799),(51.972,33.603),(51.894,33.603),(51.899,33.406),(51.972,33.406),(51.972,33.21),(51.903,33.21),(51.907,33.013),(51.972,33.013),(51.972,32.817),(51.911,32.817),(51.916,32.62),(51.972,32.62),(51.972,32.424),(51.92,32.424),(51.924,32.227),(51.972,32.227),(51.972,32.031),(51.929,32.031),(51.933,31.834),(51.972,31.834),(51.972,31.638),(51.937,31.638),(51.942,31.441),(51.972,31.441),(51.972,31.245),(51.946,31.245),(51.95,31.048),(51.972,31.048),(51.972,0)],
  [(36.29,21.996),(36.086,22.452),(36.263,22.532),(36.471,22.078)],
  [(39.099,23.473),(38.839,23.9),(39.005,24.002),(39.268,23.577)],
  [(36.651,22.161),(36.44,22.614),(36.616,22.697),(36.831,22.246)],
  [(50.294,38.329),(49.812,38.462),(49.863,38.649),(50.346,38.521)],
  [(42.008,25.541),(41.69,25.927),(41.84,26.051),(42.161,25.668)],
  [(51.08,42.619),(50.582,42.666),(50.6,42.86),(51.098,42.816)],
  [(51.142,43.41),(50.643,43.442),(50.655,43.636),(51.154,43.608)],
  [(49.826,36.812),(49.353,36.975),(49.415,37.159),(49.89,37)],
  [(45.378,28.897),(44.994,29.216),(45.117,29.366),(45.504,29.05)],
  [(50.88,41.044),(50.386,41.122),(50.416,41.315),(50.911,41.24)],
  [(51.18,44.203),(50.68,44.219),(50.686,44.413),(51.186,44.401)],
  [(50.992,41.83),(50.496,41.893),(50.52,42.086),(51.017,42.027)],
  [(45.876,29.515),(45.481,29.823),(45.6,29.977),(45.997,29.673)],
  [(39.77,23.896),(39.497,24.315),(39.659,24.422),(39.936,24.006)],
  [(48.947,34.6),(48.492,34.806),(48.571,34.984),(49.028,34.781)],
  [(44.052,27.421),(43.693,27.77),(43.828,27.91),(44.189,27.564)],
  [(47.864,32.48),(47.43,32.728),(47.526,32.898),(47.961,32.653)],
  [(49.108,34.963),(48.649,35.162),(48.726,35.341),(49.186,35.145)],
  [(48.43,33.527),(47.985,33.755),(48.073,33.928),(48.52,33.704)],
  [(45.122,28.593),(44.743,28.919),(44.869,29.067),(45.251,28.745)],
  [(50.743,40.262),(50.252,40.356),(50.288,40.547),(50.78,40.457)],
  [(49.413,35.696),(48.948,35.88),(49.019,36.061),(49.485,35.881)],
  [(43.201,26.588),(42.86,26.953),(43.001,27.087),(43.346,26.724)],
  [(48.247,33.175),(47.805,33.41),(47.896,33.582),(48.339,33.351)],
  [(47.664,32.137),(47.234,32.392),(47.332,32.56),(47.764,32.308)],
  [(50.396,38.713),(49.912,38.838),(49.96,39.026),(50.445,38.905)],
  [(42.613,26.055),(42.283,26.431),(42.429,26.56),(42.762,26.186)],
  [(49.556,36.066),(49.089,36.243),(49.157,36.425),(49.626,36.252)],
  [(51.114,43.014),(50.616,43.054),(50.63,43.248),(51.129,43.212)],
  [(49.263,35.328),(48.801,35.52),(48.875,35.7),(49.339,35.512)],
  [(40.752,24.571),(40.459,24.976),(40.616,25.091),(40.912,24.688)],
  [(44.596,27.999),(44.227,28.336),(44.358,28.48),(44.73,28.146)],
  [(47.032,31.128),(46.615,31.403),(46.721,31.566),(47.141,31.294)],
  [(41.071,24.806),(40.772,25.206),(40.928,25.323),(41.23,24.925)],
  [(51.164,43.806),(50.665,43.83),(50.673,44.024),(51.173,44.005)],
  [(44.862,28.294),(44.487,28.626),(44.616,28.772),(44.993,28.443)],
  [(50.939,41.436),(50.444,41.507),(50.471,41.7),(50.967,41.633)],
  [(41.388,25.046),(41.082,25.442),(41.236,25.561),(41.544,25.168)],
  [(48.608,33.882),(48.159,34.103),(48.245,34.278),(48.695,34.061)],
  [(45.629,29.204),(45.24,29.518),(45.361,29.67),(45.753,29.359)],
  [(48.058,32.826),(47.62,33.068),(47.713,33.238),(48.153,33)],
  [(40.101,24.116),(39.821,24.53),(39.982,24.64),(40.265,24.228)],
  [(49.952,37.189),(49.476,37.344),(49.536,37.529),(50.013,37.378)],
  [(42.313,25.796),(41.989,26.176),(42.137,26.303),(42.463,25.925)],
  [(51.189,44.6),(50.689,44.608),(50.692,44.802),(51.192,44.798)],
  [(42.909,26.319),(42.574,26.69),(42.717,26.821),(43.056,26.453)],
  [(48.78,34.24),(48.328,34.453),(48.411,34.629),(48.864,34.419)],
  [(47.458,31.797),(47.033,32.059),(47.134,32.225),(47.562,31.967)],
  [(47.248,31.461),(46.826,31.73),(46.93,31.894),(47.354,31.629)],
  [(46.585,30.472),(46.176,30.76),(46.288,30.92),(46.699,30.635)],
  [(51.039,42.224),(50.542,42.279),(50.563,42.472),(51.06,42.421)],
  [(50.072,37.567),(49.594,37.715),(49.651,37.901),(50.13,37.757)],
  [(46.117,29.831),(45.718,30.131),(45.834,30.287),(46.236,29.99)],
  [(41.7,25.291),(41.388,25.682),(41.54,25.804),(41.855,25.415)],
  [(50.186,37.947),(49.706,38.087),(49.76,38.274),(50.241,38.138)],
  [(49.694,36.438),(49.224,36.608),(49.289,36.791),(49.761,36.625)],
  [(43.489,26.861),(43.142,27.221),(43.281,27.357),(43.631,27)],
  [(50.815,40.652),(50.322,40.739),(50.355,40.93),(50.848,40.848)],
  [(40.428,24.341),(40.142,24.751),(40.301,24.863),(40.59,24.455)],
  [(50.582,39.485),(50.094,39.594),(50.136,39.784),(50.624,39.679)],
  [(46.811,30.798),(46.398,31.08),(46.507,31.241),(46.922,30.963)],
  [(43.773,27.139),(43.42,27.493),(43.557,27.631),(43.913,27.28)],
  [(46.353,30.149),(45.949,30.444),(46.063,30.602),(46.47,30.31)],
  [(50.492,39.098),(50.006,39.215),(50.051,39.404),(50.538,39.291)],
  [(44.326,27.708),(43.962,28.051),(44.095,28.193),(44.462,27.853)],
  [(50.666,39.873),(50.176,39.974),(50.215,40.165),(50.705,40.067)],
  [(39.436,23.682),(39.17,24.105),(39.334,24.209),(39.604,23.788)],
  [(38.415,23.071),(38.168,23.506),(38.337,23.602),(38.587,23.169)],
  [(37.718,22.69),(37.485,23.133),(37.657,23.224),(37.893,22.783)],
  [(38.068,22.878),(37.828,23.316),(37.999,23.41),(38.242,22.973)],
  [(37.365,22.508),(37.139,22.954),(37.313,23.043),(37.542,22.598)],
  [(38.758,23.269),(38.505,23.7),(38.672,23.799),(38.929,23.37)],
  [(34.822,21.393),(34.647,21.861),(34.829,21.93),(35.008,21.463)],
  [(32.938,20.771),(32.8,21.252),(32.987,21.306),(33.128,20.826)],
  [(31.399,20.381),(31.291,20.87),(31.481,20.912),(31.592,20.425)],
  [(34.074,21.126),(33.914,21.6),(34.098,21.663),(34.262,21.191)],
  [(35.927,21.836),(35.73,22.296),(35.908,22.373),(36.109,21.915)],
  [(27.867,19.864),(27.83,20.362),(28.024,20.378),(28.065,19.879)],
  [(34.449,21.257),(34.281,21.728),(34.464,21.794),(34.636,21.324)],
  [(28.263,19.896),(28.218,20.394),(28.411,20.413),(28.46,19.915)],
  [(30.23,20.153),(30.146,20.646),(30.338,20.68),(30.426,20.187)],
  [(35.193,21.535),(35.01,22),(35.191,22.072),(35.377,21.608)],
  [(29.446,20.032),(29.377,20.527),(29.57,20.555),(29.642,20.06)],
  [(32.171,20.564),(32.049,21.049),(32.237,21.097),(32.364,20.614)],
  [(31.786,20.47),(31.671,20.956),(31.86,21.002),(31.979,20.516)],
  [(33.697,21.002),(33.544,21.478),(33.729,21.538),(33.886,21.063)],
  [(32.555,20.664),(32.425,21.147),(32.613,21.199),(32.747,20.717)],
  [(29.838,20.09),(29.762,20.584),(29.954,20.614),(30.034,20.121)],
  [(28.658,19.935),(28.605,20.433),(28.798,20.454),(28.855,19.957)],
  [(30.621,20.223),(30.529,20.715),(30.72,20.751),(30.816,20.26)],
  [(26.281,19.795),(26.275,20.295),(26.47,20.298),(26.48,19.798)],
  [(29.052,19.981),(28.991,20.477),(29.184,20.501),(29.249,20.005)],
  [(26.678,19.803),(26.664,20.303),(26.859,20.309),(26.876,19.809)],
  [(31.011,20.299),(30.911,20.789),(31.101,20.829),(31.205,20.34)],
  [(33.318,20.883),(33.173,21.362),(33.359,21.419),(33.508,20.942)],
  [(35.561,21.683),(35.371,22.145),(35.551,22.22),(35.744,21.759)],
  [(27.075,19.817),(27.053,20.316),(27.247,20.326),(27.273,19.826)],
  [(27.471,19.837),(27.442,20.336),(27.636,20.349),(27.669,19.85)])
R(swg_393_780_25, DevRec, [(-1,0,52.972,90)])
swg_393_780_25.add(gdstk.FlexPath([(0.25,89.99),(0.25,90.01)], 0.5, ends="flush", simple_path=True, layer=1, datatype=10))  # PinRec
swg_393_780_25.add(gdstk.FlexPath([(51.722,89.99),(51.722,90.01)], 0.5, ends="flush", simple_path=True, layer=1, datatype=10))  # PinRec
swg_393_780_25.add(gdstk.FlexPath([(0.25,0.01),(0.25,-0.01)], 0.5, ends="flush", simple_path=True, layer=1, datatype=10))  # PinRec
swg_393_780_25.add(gdstk.FlexPath([(51.722,0.01),(51.722,-0.01)], 0.5, ends="flush", simple_path=True, layer=1, datatype=10))  # PinRec
swg_393_780_25.add(gdstk.Label('opt1', (0.25,90), layer=1, texttype=10))
swg_393_780_25.add(gdstk.Label('opt2', (51.722,90), layer=1, texttype=10))
swg_393_780_25.add(gdstk.Label('opt3', (0.25,0), layer=1, texttype=10))
swg_393_780_25.add(gdstk.Label('opt4', (51.722,0), layer=1, texttype=10))

lib.write_gds('swg_393_780_25.gds')
